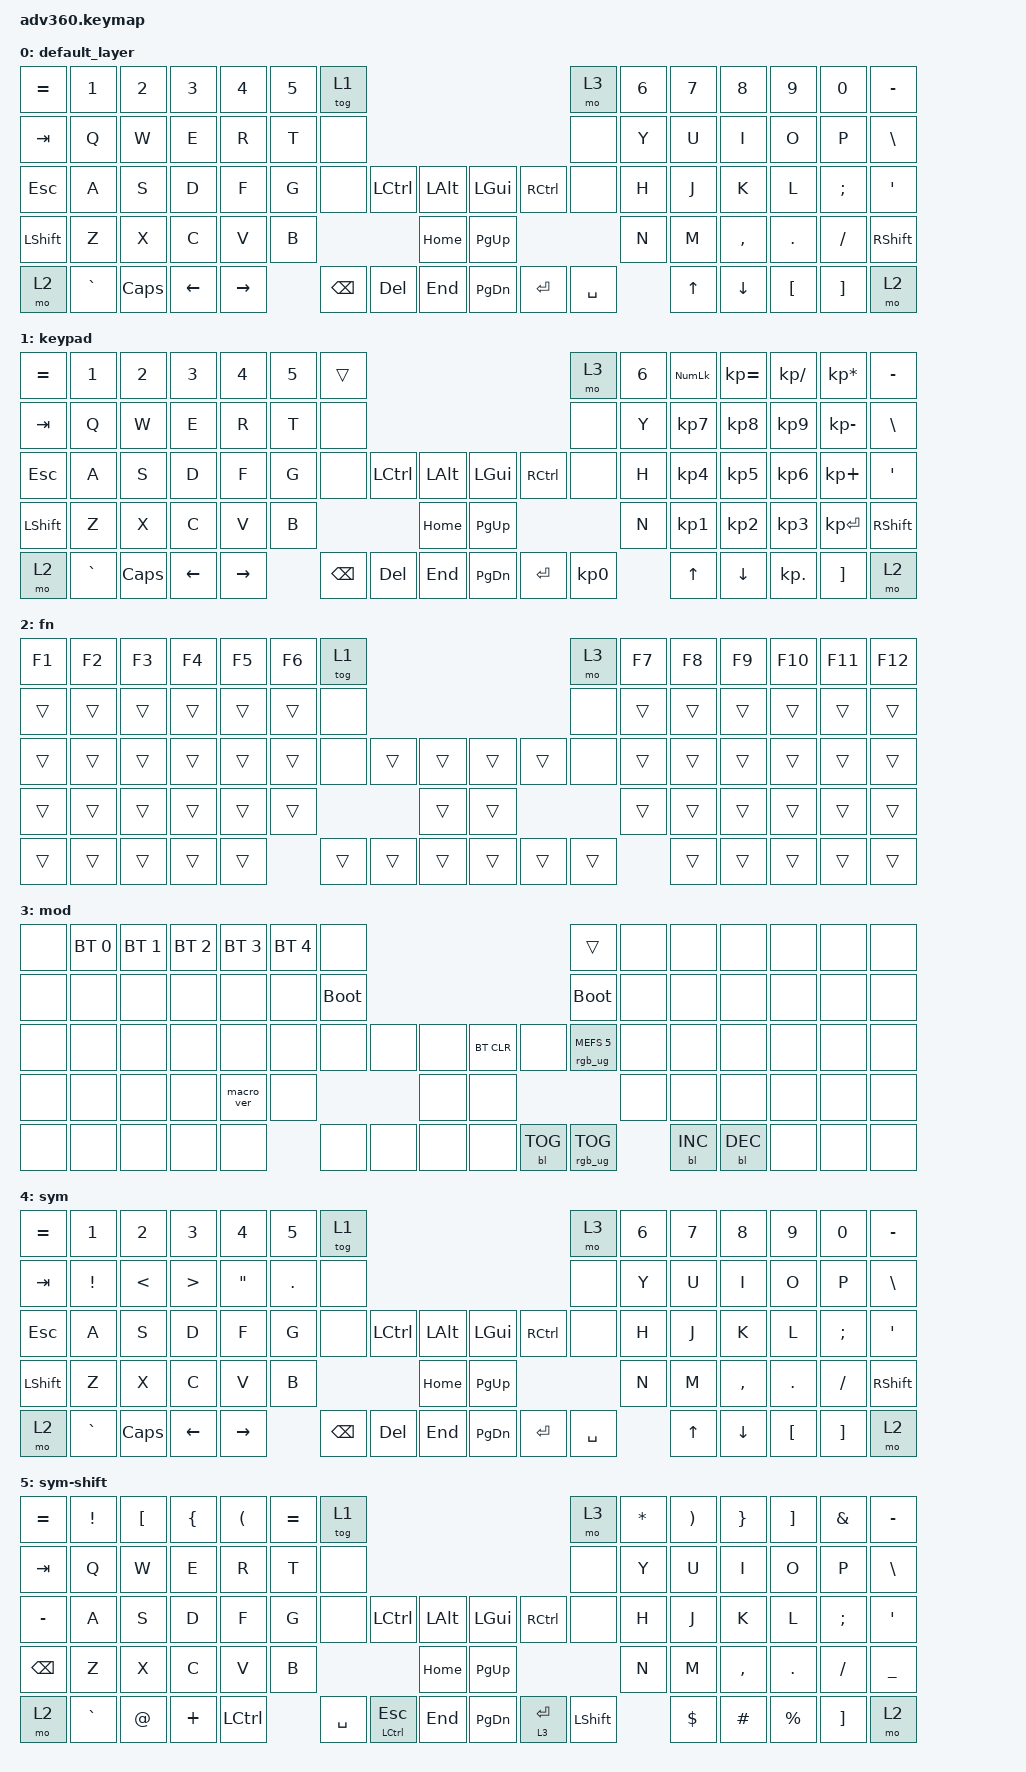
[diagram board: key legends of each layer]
#include <behaviors.dtsi>
#include <dt-bindings/zmk/backlight.h>
#include <dt-bindings/zmk/bt.h>
#include <dt-bindings/zmk/keys.h>
#include <dt-bindings/zmk/rgb.h>

/ {
    behaviors {
        #include "macros.dtsi"
      #include "version.dtsi"
      #ifndef VERSION_MACRO

        macro_ver: macro_ver {
            compatible = "zmk,behavior-macro";
            label = "macro_version";
            #binding-cells = <0>;
            bindings = <&kp RET>;
        };

        #endif

        hm: homerow_mods {
            compatible = "zmk,behavior-hold-tap";
            label = "HOMEROW_MODS";
            #binding-cells = <2>;
            tapping-term-ms = <200>;
            quick_tap_ms = <175>;
            flavor = "tap-preferred";
            bindings = <&kp>, <&kp>;
        };
    };

    macros {
    };

    keymap {
        compatible = "zmk,keymap";

        default_layer {
            bindings = <
&kp EQUAL  &kp N1     &kp N2    &kp N3    &kp N4     &kp N5  &tog 1                                                   &mo 3      &kp N6  &kp N7  &kp N8     &kp N9    &kp N0    &kp MINUS
&kp TAB    &kp Q      &kp W     &kp E     &kp R      &kp T   &none                                                    &none      &kp Y   &kp U   &kp I      &kp O     &kp P     &kp BSLH
&kp ESC    &kp A      &kp S     &kp D     &kp F      &kp G   &none     &kp LCTRL  &kp LALT      &kp LGUI   &kp RCTRL  &none      &kp H   &kp J   &kp K      &kp L     &kp SEMI  &kp SQT
&kp LSHFT  &kp Z      &kp X     &kp C     &kp V      &kp B                        &kp HOME      &kp PG_UP                        &kp N   &kp M   &kp COMMA  &kp DOT   &kp FSLH  &kp RSHFT
&mo 2      &kp GRAVE  &kp CAPS  &kp LEFT  &kp RIGHT          &kp BSPC  &kp DEL    &kp END       &kp PG_DN  &kp ENTER  &kp SPACE          &kp UP  &kp DOWN   &kp LBKT  &kp RBKT  &mo 2
            >;
        };

        keypad {
            bindings = <
&kp EQUAL  &kp N1     &kp N2    &kp N3    &kp N4     &kp N5  &trans                                                   &mo 3      &kp N6  &kp KP_NUM  &kp KP_EQUAL  &kp KP_DIVIDE  &kp KP_MULTIPLY  &kp MINUS
&kp TAB    &kp Q      &kp W     &kp E     &kp R      &kp T   &none                                                    &none      &kp Y   &kp KP_N7   &kp KP_N8     &kp KP_N9      &kp KP_MINUS     &kp BSLH
&kp ESC    &kp A      &kp S     &kp D     &kp F      &kp G   &none     &kp LCTRL  &kp LALT      &kp LGUI   &kp RCTRL  &none      &kp H   &kp KP_N4   &kp KP_N5     &kp KP_N6      &kp KP_PLUS      &kp SQT
&kp LSHFT  &kp Z      &kp X     &kp C     &kp V      &kp B                        &kp HOME      &kp PG_UP                        &kp N   &kp KP_N1   &kp KP_N2     &kp KP_N3      &kp KP_ENTER     &kp RSHFT
&mo 2      &kp GRAVE  &kp CAPS  &kp LEFT  &kp RIGHT          &kp BSPC  &kp DEL    &kp END       &kp PG_DN  &kp ENTER  &kp KP_N0          &kp UP      &kp DOWN      &kp KP_DOT     &kp RBKT         &mo 2
            >;
        };

        fn {
            bindings = <
&kp F1  &kp F2  &kp F3  &kp F4  &kp F5  &kp F6  &tog 1                                      &mo 3   &kp F7  &kp F8  &kp F9  &kp F10  &kp F11  &kp F12
&trans  &trans  &trans  &trans  &trans  &trans  &none                                       &none   &trans  &trans  &trans  &trans   &trans   &trans
&trans  &trans  &trans  &trans  &trans  &trans  &none   &trans  &trans      &trans  &trans  &none   &trans  &trans  &trans  &trans   &trans   &trans
&trans  &trans  &trans  &trans  &trans  &trans                  &trans      &trans                  &trans  &trans  &trans  &trans   &trans   &trans
&trans  &trans  &trans  &trans  &trans          &trans  &trans  &trans      &trans  &trans  &trans          &trans  &trans  &trans   &trans   &trans
            >;
        };

        mod {
            bindings = <
&none  &bt BT_SEL 0  &bt BT_SEL 1  &bt BT_SEL 2  &bt BT_SEL 3  &bt BT_SEL 4  &none                                                  &trans                  &none  &none       &none       &none  &none  &none
&none  &none         &none         &none         &none         &none         &bootloader                                            &bootloader             &none  &none       &none       &none  &none  &none
&none  &none         &none         &none         &none         &none         &none        &none  &none      &bt BT_CLR  &none       &rgb_ug RGB_MEFS_CMD 5  &none  &none       &none       &none  &none  &none
&none  &none         &none         &none         &macro_ver    &none                             &none      &none                                           &none  &none       &none       &none  &none  &none
&none  &none         &none         &none         &none                       &none        &none  &none      &none       &bl BL_TOG  &rgb_ug RGB_TOG                &bl BL_INC  &bl BL_DEC  &none  &none  &none
            >;
        };

        sym {
            bindings = <
&kp EQUAL  &kp N1           &kp N2         &kp N3            &kp N4             &kp N5      &tog 1                                                   &mo 3      &kp N6  &kp N7  &kp N8     &kp N9    &kp N0    &kp MINUS
&kp TAB    &kp EXCLAMATION  &kp LESS_THAN  &kp GREATER_THAN  &kp DOUBLE_QUOTES  &kp PERIOD  &none                                                    &none      &kp Y   &kp U   &kp I      &kp O     &kp P     &kp BSLH
&kp ESC    &kp A            &kp S          &kp D             &kp F              &kp G       &none     &kp LCTRL  &kp LALT      &kp LGUI   &kp RCTRL  &none      &kp H   &kp J   &kp K      &kp L     &kp SEMI  &kp SQT
&kp LSHFT  &kp Z            &kp X          &kp C             &kp V              &kp B                            &kp HOME      &kp PG_UP                        &kp N   &kp M   &kp COMMA  &kp DOT   &kp FSLH  &kp RSHFT
&mo 2      &kp GRAVE        &kp CAPS       &kp LEFT          &kp RIGHT                      &kp BSPC  &kp DEL    &kp END       &kp PG_DN  &kp ENTER  &kp SPACE          &kp UP  &kp DOWN   &kp LBKT  &kp RBKT  &mo 2
            >;
        };

        sym-shift {
            bindings = <
&kp EQUAL      &kp EXCLAMATION  &kp LEFT_BRACKET  &kp LEFT_BRACE  &kp LEFT_PARENTHESIS  &kp EQUAL  &tog 1                                                             &mo 3           &kp ASTERISK  &kp RIGHT_PARENTHESIS  &kp RIGHT_BRACE  &kp RIGHT_BRACKET  &kp AMPERSAND  &kp MINUS
&kp TAB        &kp Q            &kp W             &kp E           &kp R                 &kp T      &none                                                              &none           &kp Y         &kp U                  &kp I            &kp O              &kp P          &kp BSLH
&kp MINUS      &kp A            &kp S             &kp D           &kp F                 &kp G      &none      &kp LCTRL         &kp LALT      &kp LGUI   &kp RCTRL    &none           &kp H         &kp J                  &kp K            &kp L              &kp SEMI       &kp SQT
&kp BACKSPACE  &kp Z            &kp X             &kp C           &kp V                 &kp B                                   &kp HOME      &kp PG_UP                               &kp N         &kp M                  &kp COMMA        &kp DOT            &kp FSLH       &kp UNDERSCORE
&mo 2          &kp GRAVE        &kp AT_SIGN       &kp PLUS        &kp LCTRL                        &kp SPACE  &mt LCTRL ESCAPE  &kp END       &kp PG_DN  &lt 3 ENTER  &kp LEFT_SHIFT                &kp DOLLAR             &kp HASH         &kp PERCENT        &kp RBKT       &mo 2
            >;
        };
    };
};
